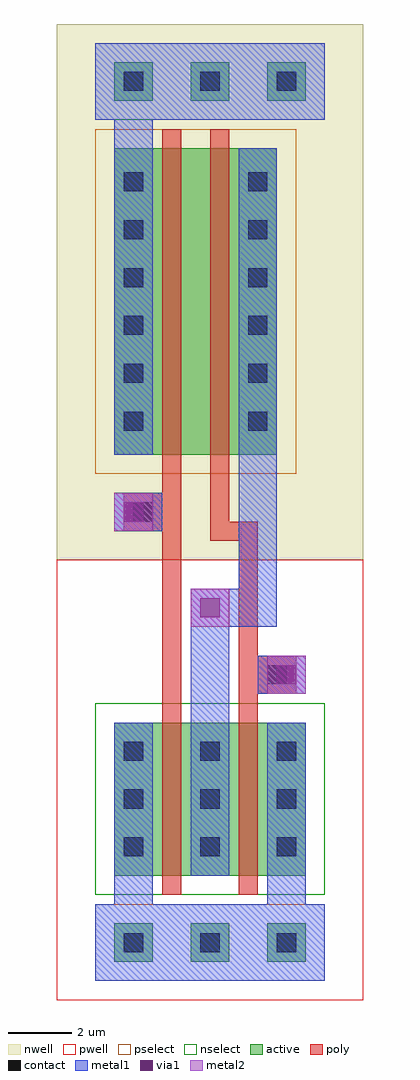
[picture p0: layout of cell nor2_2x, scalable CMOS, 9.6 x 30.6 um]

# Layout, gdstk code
import gdstk
lib = gdstk.Library(unit=1e-6, precision=1e-09)
def R(c, l, rs):  # rectangles x0, y0, x1, y1
    for r in rs: c.add(gdstk.rectangle(r[:2], r[2:], *l))
def A(c, l, x, y, w, h, nx, ny, dx, dy):  # array of equal rectangles
    R(c, l, [(x+i*dx, y+j*dy, x+i*dx+w, y+j*dy+h) for i in range(nx) for j in range(ny)])
contact = (25, 0)
pwell = (41, 0)
nwell = (42, 0)
active = (43, 0)
pselect = (44, 0)
nselect = (45, 0)
poly = (46, 0)
metal1 = (49, 0)
via1 = (50, 0)
metal2 = (51, 0)

nor2_2x = lib.new_cell('nor2_2x')
A(nor2_2x, contact, 0.3, -0.3, 0.6, 0.6, 3, 2, 2.4, 3)
A(nor2_2x, contact, 0.3, 4.2, 0.6, 0.6, 3, 2, 2.4, 1.5)
A(nor2_2x, contact, 0.3, 16.05, 0.6, 0.6, 1, 6, 0, 1.5)
A(nor2_2x, contact, 4.2, 16.05, 0.6, 0.6, 1, 6, 0, 1.5)
A(nor2_2x, contact, 0.3, 26.7, 0.6, 0.6, 3, 1, 2.4, 0)
R(nor2_2x, contact, [(4.8,8.1,5.4,8.7), (0.6,13.2,1.2,13.8)])
A(nor2_2x, pwell, -0.9, -1.5, 3, 3, 3, 1, 2.4, 0)
A(nor2_2x, pwell, -1.8, 0.3, 4.8, 8.4, 3, 1, 2.4, 0)
R(nor2_2x, pwell, [(-1.8,-1.8,7.8,12), (-1.2,0.3,4.8,8.7), (1.2,0.3,7.2,8.7), (-1.65,1.65,2.925,6.15), (0.675,1.95,5.25,6.45), (0.675,1.95,5.325,6.45), (3.075,2.25,7.65,6.75)])
A(nor2_2x, nwell, -0.9, 25.5, 3, 3, 3, 1, 2.4, 0)
R(nor2_2x, nwell, [(-1.8,12,7.8,28.8), (-1.8,13.5,3,26.7), (-1.2,13.5,4.8,26.7), (0.3,13.5,6.3,26.7), (2.1,13.5,6.9,26.7), (-0.075,17.55,5.175,22.05), (2.175,18.15,6.75,22.65), (-1.65,19.35,2.925,23.85)])
A(nor2_2x, active, 0, -0.6, 1.2, 1.2, 3, 2, 2.4, 27)
A(nor2_2x, active, 0, 2.1, 1.2, 4.8, 3, 1, 2.4, 0)
R(nor2_2x, active, [(0.6,2.1,3,6.9), (3,2.1,5.4,6.9), (0.15,3.45,1.125,4.35), (2.475,3.75,3.45,4.65), (2.475,3.75,3.525,4.65), (4.875,4.05,5.85,4.95), (0,15.3,1.2,24.9), (0.6,15.3,3,24.9), (2.1,15.3,4.5,24.9), (3.9,15.3,5.1,24.9), (1.725,19.35,3.375,20.25), (3.975,19.95,4.95,20.85), (0.15,21.15,1.125,22.05)])
A(nor2_2x, pselect, -0.6, -1.2, 2.4, 2.4, 3, 1, 2.4, 0)
R(nor2_2x, pselect, [(-0.6,14.7,1.8,25.5), (0,14.7,3.6,25.5), (1.5,14.7,5.1,25.5), (3.3,14.7,5.7,25.5), (1.125,18.75,3.975,20.85), (3.375,19.35,5.55,21.45), (-0.45,20.55,1.725,22.65)])
A(nor2_2x, nselect, -0.6, 1.5, 2.4, 6, 3, 1, 2.4, 0)
A(nor2_2x, nselect, -0.6, 25.8, 2.4, 2.4, 3, 1, 2.4, 0)
R(nor2_2x, nselect, [(0,1.5,3.6,7.5), (2.4,1.5,6,7.5), (-0.45,2.85,1.725,4.95), (1.875,3.15,4.05,5.25), (1.875,3.15,4.125,5.25), (4.275,3.45,6.45,5.55)])
R(nor2_2x, poly, [(1.5,1.5,2.1,7.5), (3.9,1.5,4.5,7.5), (1.5,7.2,2.1,13.8), (3.9,7.2,4.5,8.7), (4.5,7.8,5.7,9), (3.9,8.1,4.5,13.2), (3.9,8.1,5.4,8.7), (3,12.6,4.5,13.2), (3,12.6,3.6,15), (0.3,12.9,1.5,14.1), (0.6,13.2,2.1,13.8), (1.5,13.2,2.1,15), (1.5,14.7,2.1,25.5), (3,14.7,3.6,25.5)])
A(nor2_2x, metal1, 0, -0.6, 1.2, 1.2, 3, 2, 2.4, 27)
A(nor2_2x, metal1, 0, 2.1, 1.2, 4.8, 3, 1, 2.4, 0)
R(nor2_2x, metal1, [(-0.6,-1.2,1.8,1.2), (-0.6,-1.2,4.2,1.2), (-0.6,-1.2,4.2,1.2), (1.8,-1.2,6.6,1.2), (0,-0.6,1.2,3.15), (4.8,-0.6,6,3.15), (2.4,3.9,3.6,11.1), (4.5,7.8,5.7,9), (4.5,7.8,6,9), (4.8,7.8,6,9), (2.4,9.9,3.6,11.1), (2.4,9.9,3.6,11.1), (2.4,9.9,5.1,11.1), (3.9,9.9,5.1,16.5), (0,12.9,1.2,14.1), (0,12.9,1.5,14.1), (0.3,12.9,1.5,14.1), (0,15.3,1.2,24.9), (3.9,15.3,5.1,24.9), (0,23.85,1.2,27.6), (-0.6,25.8,1.8,28.2), (-0.6,25.8,4.2,28.2), (1.8,25.8,6.6,28.2), (0,26.4,1.2,27.6), (4.8,26.4,6,27.6)])
R(nor2_2x, via1, [(5.1,8.1,5.7,8.7), (2.7,10.2,3.3,10.8), (0.3,13.2,0.9,13.8)])
R(nor2_2x, metal2, [(4.8,7.8,6,9), (2.4,9.9,3.6,11.1), (0,12.9,1.2,14.1)])

lib.write_gds('nor2_2x.gds')
